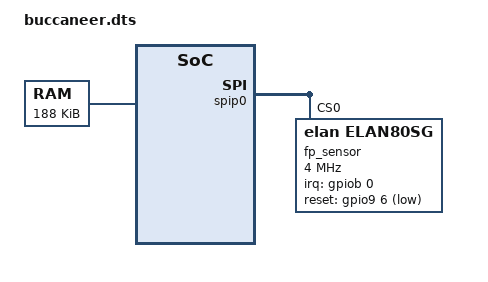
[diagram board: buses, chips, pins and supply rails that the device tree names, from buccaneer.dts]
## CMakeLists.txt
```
# Copyright 2025 The ChromiumOS Authors
# Use of this source code is governed by a BSD-style license that can be
# found in the LICENSE file.

set(EXPECTED_ROLLBACK_VERSION 1)

if(NOT CONFIG_PLATFORM_EC_ROLLBACK_VERSION EQUAL EXPECTED_ROLLBACK_VERSION)
	message(FATAL_ERROR "Rollback version has changed! Expected ${EXPECTED_ROLLBACK_VERSION}, but ${CONFIG_PLATFORM_EC_ROLLBACK_VERSION} is set.")
endif()

zephyr_library_sources_ifdef(CONFIG_HELIPILOT_EC_RO_QUIRKS "src/ec_quirks.c")
zephyr_library_sources_ifdef(CONFIG_EC_HOST_CMD "src/fp_transport.c")
zephyr_library_sources("src/power.c")
```

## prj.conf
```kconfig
# Copyright 2025 The ChromiumOS Authors
# Use of this source code is governed by a BSD-style license that can be
# found in the LICENSE file.

CONFIG_BASEBOARD_HELIPILOT=y

# System Controller drivers
CONFIG_SYSCON=y
CONFIG_SYS_CLOCK_HW_CYCLES_PER_SEC=16000000

# NPCX Flash driver options
CONFIG_FLASH_JESD216_API=y
CONFIG_FLASH_EX_OP_ENABLED=y
CONFIG_NPCX_FLASH_ERASE_SIZE=0x10000

# NPCX entropy driver options
CONFIG_ENTROPY_GENERATOR=y

# Set security strength to 256b
CONFIG_ENTROPY_NPCX_DRBG_SECURITY_STRENGTH_256B=y

# Watchdog
CONFIG_PLATFORM_EC_WATCHDOG_PERIOD_MS=10000
CONFIG_WDT_NPCX_WARNING_LEADING_TIME_MS=3000

# Disable flash shell, shell help, history and tab for helipilot to save space
CONFIG_FLASH_SHELL=n
CONFIG_SHELL_HELP=n
CONFIG_SHELL_HISTORY=n
CONFIG_SHELL_TAB=n
CONFIG_SHELL_TAB_AUTOCOMPLETION=n
CONFIG_SHELL_VT100_COMMANDS=n

# Disable math util and unnecessary console commands to save space
CONFIG_PLATFORM_EC_CONSOLE_CMD_CRASH=n
CONFIG_PLATFORM_EC_CONSOLE_CMD_CRASH_NESTED=n
CONFIG_PLATFORM_EC_CONSOLE_CMD_FLASH_WP=n
CONFIG_PLATFORM_EC_CONSOLE_CMD_GETTIME=n
CONFIG_PLATFORM_EC_CONSOLE_CMD_HCDEBUG=n
CONFIG_PLATFORM_EC_CONSOLE_CMD_MD=n
CONFIG_PLATFORM_EC_CONSOLE_CMD_RW=n
CONFIG_PLATFORM_EC_CONSOLE_CMD_SYSINFO=n
CONFIG_PLATFORM_EC_CONSOLE_CMD_SYSJUMP=n
CONFIG_PLATFORM_EC_CONSOLE_CMD_TIMERINFO=n
CONFIG_PLATFORM_EC_CONSOLE_CMD_WAITMS=n
CONFIG_PLATFORM_EC_HOSTCMD_CONSOLE_PRINT=n
CONFIG_PLATFORM_EC_HOSTCMD_GET_UPTIME_INFO=n
CONFIG_PLATFORM_EC_MATH_UTIL=n

# Host Commands
CONFIG_EC_HOST_CMD_INITIALIZE_AT_BOOT=n
CONFIG_EC_HOST_CMD_HANDLER_TX_BUFFER_SIZE=549
CONFIG_EC_HOST_CMD_HANDLER_RX_BUFFER_SIZE=544
CONFIG_EC_HOST_CMD_BACKEND_SHI=y
CONFIG_EC_HOST_CMD_BACKEND_UART=y
CONFIG_UART_ASYNC_API=y
CONFIG_UART_NPCX_USE_MDMA=y

# The NULL pointer exception page size must be a power of two
# and have size greater or equal ARM_MPU_REGION_MIN_ALIGN_AND_SIZE
CONFIG_CORTEX_M_NULL_POINTER_EXCEPTION_PAGE_SIZE=0x80
```

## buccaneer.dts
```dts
/* Copyright 2025 The ChromiumOS Authors.
 * Use of this source code is governed by a BSD-style license that can be
 * found in the LICENSE file.
 */

#include "soc.dtsi"
#include "gpio.dtsi"
#include "buccaneer/rwsig.dtsi"

#include <cros/integrated_fwid.dtsi>
#include <cros/integrated_ro_frid.dtsi>

#define ELAN80SG_COMMON_IMAGE_PROPS \
	width = <80>; \
	height = <80>; \
	bits-per-pixel = <14>; \
	frame-size = <12800>; \
	image-data-offset-bytes = <0>; \
	v4l2-pixel-format = "V4L2_PIX_FMT_GREY";

/ {
	chosen {
		cros-fp,fingerprint-sensor = &fp_sensor;
		zephyr,host-cmd-shi-backend = &shi0;
		zephyr,host-cmd-uart-backend = &uart2;
		zephyr,shell-uart = &uart1;
		cros,rtc = &mtc;
	};

	binman {
		pad-byte = <0xff>;

		/* Total Flash size is 1 MB. */
		size = <0x100000>;

		/* First 128 kB (uniform 4 kB sectors) used for RO */
		wp-ro {
			offset = <0x0>;
			size = <0x20000>;
			ec-ro {
				pad-byte = <0xff>;
				ro-fw {
					/*
					 * Clang doesn't emit STT_SECTION symbols (also
					 * called 'section symbols'), so 'rom_start'
					 * symbol is not available. Fortunately, Zephyr
					 * linker scripts provide '__rom_start_address'
					 * symbol which points to the beginning of
					 * 'rom_start' section.
					 */
					elf-base-sym = "__rom_start_address";
				};

				/*
				 * Override ro-frid offset to account for the 64-byte (0x40)
				 * NPCX firmware header prepended to the Zephyr RO image.
				 * 4 (version struct offset) + 0x40 (header) = 0x44 (68 bytes)
				 */
				ro-frid {
					offset-from-elf = <&zephyr_ro>, "current_image_data", <0x44>;
				};
			};
		};

		/* Two rollback sections (64 kB each) */
		rollback0 {
			offset = <0x20000>;
			size = <0x10000>;
			type = "blob";
			filename = "../build-rw/rollback_initial_data.bin";
		};

		rollback1 {
			offset = <0x30000>;
			size = <0x10000>;
			type = "blob";
			filename = "../build-rw/rollback_initial_data.bin";
		};

		/* 320 kB used for RW - buccaneer ECOS flash size */
		ec-rw {
			offset = <0x40000>;
			size = <0x50000>;
			rw-fw {
				/*
				 * Clang doesn't emit STT_SECTION symbols (also
				 * called 'section symbols'), so 'rom_start'
				 * symbol is not available. Fortunately, Zephyr
				 * linker scripts provide '__rom_start_address'
				 * symbol which points to the beginning of
				 * 'rom_start' section.
				 */
				zephyr-rw {
					elf-base-sym = "__rom_start_address";
				};
			};
		};
	};
};

/*
 *           ┌──────────────┐
 *           │   Reserved   │
 *           │     4KB      │
 *           ├──────────────┤0x200D7000
 *           │              │
 *           │              │
 *           │   Data RAM   │
 *           │     188KB    │
 *           │              │
 *           │              │
 * 0x100A8000├──────────────┤0x200A8000
 *           │              │
 *           │              │
 *           │              │
 *           │              │
 *           │   Code RAM   │
 *           │     320KB    │
 *           │              │
 *           │              │
 *           │              │
 *           │              │
 *           │              │
 * 0x10058000└──────────────┘
 */
&flash0 {
    reg = <0x10058000 DT_SIZE_K(320)>;
};

/delete-node/ &sram0;

/ {
	sram0: memory@200a8000 {
		compatible = "mmio-sram";
		reg = <0x200A8000 DT_SIZE_K(188)>;
	};
};

&flash0 {
	partitions {
		compatible = "fixed-partitions";
		#address-cells = <1>;
		#size-cells = <1>;

		/* First rollback section */
		rollback0: partition@20000 {
			label = "rollback0";
			reg = <0x20000 DT_SIZE_K(64)>;
		};

		/* Second rollback section */
		rollback1: partition@30000 {
			label = "rollback1";
			reg = <0x30000 DT_SIZE_K(64)>;
		};
	};
};

&spip0 {
	fp_sensor: elan80sg@0 {
		compatible = "elan,elan80sg";
		reg = <0>;
		spi-max-frequency = <4000000>;

		configs {
			compatible = "fingerprint-image-frame-params";
			config0 {
				ELAN80SG_COMMON_IMAGE_PROPS
				capture-type = "FINGERPRINT_CAPTURE_TYPE_VENDOR_FORMAT";
			};
			config1 {
				ELAN80SG_COMMON_IMAGE_PROPS
				capture-type = "FINGERPRINT_CAPTURE_TYPE_SIMPLE_IMAGE";
			};
			config2 {
				ELAN80SG_COMMON_IMAGE_PROPS
				capture-type = "FINGERPRINT_CAPTURE_TYPE_PATTERN0";
			};
			config3 {
				ELAN80SG_COMMON_IMAGE_PROPS
				capture-type = "FINGERPRINT_CAPTURE_TYPE_PATTERN1";
			};
			config4 {
				ELAN80SG_COMMON_IMAGE_PROPS
				capture-type = "FINGERPRINT_CAPTURE_TYPE_QUALITY_TEST";
			};
			config5 {
				ELAN80SG_COMMON_IMAGE_PROPS
				capture-type = "FINGERPRINT_CAPTURE_TYPE_RESET_TEST";
			};
		};

		irq-gpios = <&gpiob 0 GPIO_ACTIVE_HIGH>;
		reset-gpios = <&gpio9 6 GPIO_ACTIVE_LOW>;
	};
};
```

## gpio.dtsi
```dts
/* Copyright 2025 The ChromiumOS Authors.
 * Use of this source code is governed by a BSD-style license that can be
 * found in the LICENSE file.
 */

#include <dt-bindings/gpio_defines.h>

/ {
	aliases {
		gpio-wp = &ec_wp_l;
	};

	named-gpios {
		compatible = "named-gpios";

		ap_ec_int_l {
			gpios = <&gpioa 7 GPIO_OUTPUT_HIGH>;
			enum-name = "GPIO_EC_INT_L";
		};

		ec_wp_l: write-protect {
			gpios = <&gpioa 4 (GPIO_INPUT | GPIO_PULL_UP)>;
		};

		fp_sensor_sel: fp_sensor_sel {
			gpios = <&gpio4 4 GPIO_INPUT>;
		};

		slp_l: slp_l {
			gpios = <&gpioa 0 GPIO_INPUT>;
		};

		transport_sel: transport_sel {
			gpios = <&gpio4 3 GPIO_INPUT>;
		};

		user_pres_l {
			gpios = <&gpioa 5 GPIO_ODR_HIGH>;
		};

		/* Used to the transport layer detection at the beginning of the
		 * boot.
		 */
		div_highside: div_highside {
			gpios = <&gpio9 3 GPIO_OUTPUT_HIGH>;
		};

		/* unimplemented GPIOs */
		entering-rw {
			enum-name = "GPIO_ENTERING_RW";
		};
	};
};
```

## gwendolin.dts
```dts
<<<<<<< HEAD   (453fd99d5363bf9651b2fb0d3ffbbab7386a6376 program,zmake: drop cmsis references)
/* Copyright 2025 The ChromiumOS Authors.
 * Use of this source code is governed by a BSD-style license that can be
 * found in the LICENSE file.
 */

#include "gpio.dtsi"
#include "gwendolin/rwsig.dtsi"
#include "soc.dtsi"

#include <cros/integrated_fwid.dtsi>

#define EGIG630_DEFAULT_IMAGE_PROPS \
	width = <80>; \
	height = <64>; \
	bits-per-pixel = <8>; \
	frame-size = <5120>; \
	v4l2-pixel-format = "V4L2_PIX_FMT_GREY";

#define EGIG630_TEST_IMAGE_PROPS \
	width = <80>; \
	height = <64>; \
	bits-per-pixel = <16>; \
	frame-size = <10240>; \
	v4l2-pixel-format = "V4L2_PIX_FMT_GREY";

/ {
	chosen {
		cros-fp,fingerprint-sensor = &fp_sensor;
		zephyr,host-cmd-shi-backend = &shi0;
		zephyr,host-cmd-uart-backend = &uart2;
		zephyr,shell-uart = &uart1;
		cros,rtc = &mtc;
	};

	binman {
		pad-byte = <0xff>;

		/* Total Flash size is 1 MB. */
		size = <0x100000>;

		/* First 128 kB (uniform 4 kB sectors) used for RO */
		wp-ro {
			offset = <0x0>;
			size = <0x20000>;
			ec-ro {
				pad-byte = <0xff>;
			};
		};

		/* Two rollback sections (64 kB each) */
		rollback0 {
			offset = <0x20000>;
			size = <0x10000>;
			type = "blob";
			filename = "../build-rw/rollback_initial_data.bin";
		};

		rollback1 {
			offset = <0x30000>;
			size = <0x10000>;
			type = "blob";
			filename = "../build-rw/rollback_initial_data.bin";
		};

		/* 256 kB used for RW - gwendolin ECOS flash size */
		ec-rw {
			offset = <0x40000>;
			size = <0x40000>;
			rw-fw {
				/*
				 * Clang doesn't emit STT_SECTION symbols (also
				 * called 'section symbols'), so 'rom_start'
				 * symbol is not available. Fortunately, Zephyr
				 * linker scripts provide '__rom_start_address'
				 * symbol which points to the beginning of
				 * 'rom_start' section.
				 */
				zephyr-rw {
					elf-base-sym = "__rom_start_address";
				};
			};
		};
	};
};

/*
 *           ┌──────────────┐
 *           │   Reserved   │
 *           │     4KB      │
 *           ├──────────────┤0x200D7000
 *           │              │
 *           │              │
 *           │   Data RAM   │
 *           │     252KB    │
 *           │              │
 *           │              │
 * 0x10098000├──────────────┤0x20098000
 *           │              │
 *           │              │
 *           │              │
 *           │              │
 *           │   Code RAM   │
 *           │     256KB    │
 *           │              │
 *           │              │
 *           │              │
 *           │              │
 *           │              │
 * 0x10058000└──────────────┘
 */
&flash0 {
    reg = <0x10058000 DT_SIZE_K(256)>;
};

/delete-node/ &sram0;

/ {
	sram0: memory@20098000{
		compatible = "mmio-sram";
		reg = <0x20098000 DT_SIZE_K(252)>;
	};
};

&qspi_fiu0 {
	partitions {
		compatible = "fixed-partitions";
		#address-cells = <1>;
		#size-cells = <1>;

		/* First rollback section */
		rollback0: partition@20000 {
			label = "rollback0";
			reg = <0x20000 DT_SIZE_K(64)>;
		};

		/* Second rollback section */
		rollback1: partition@30000 {
			label = "rollback1";
			reg = <0x30000 DT_SIZE_K(64)>;
		};
	};
};

&spip0 {
	fp_sensor: egis630@0 {
		compatible = "egis,egis630";
		reg = <0>;
		spi-max-frequency = <4000000>;

		configs {
			compatible = "fingerprint-image-frame-params";
			config0 {
				EGIG630_DEFAULT_IMAGE_PROPS
				capture-type = "FINGERPRINT_CAPTURE_TYPE_SIMPLE_IMAGE";
			};
			config1 {
				EGIG630_TEST_IMAGE_PROPS
				capture-type = "FINGERPRINT_CAPTURE_TYPE_PATTERN0";
			};
			config2 {
				EGIG630_TEST_IMAGE_PROPS
				capture-type = "FINGERPRINT_CAPTURE_TYPE_PATTERN1";
			};
			config3 {
				EGIG630_TEST_IMAGE_PROPS
				capture-type = "FINGERPRINT_CAPTURE_TYPE_DEFECT_PXL_TEST";
			};
			config4 {
				EGIG630_TEST_IMAGE_PROPS
				capture-type = "FINGERPRINT_CAPTURE_TYPE_ABNORMAL_TEST";
			};
			config5 {
				EGIG630_TEST_IMAGE_PROPS
				capture-type = "FINGERPRINT_CAPTURE_TYPE_NOISE_TEST";
			};
			config6 {
				EGIG630_TEST_IMAGE_PROPS
				capture-type = "FINGERPRINT_CAPTURE_TYPE_QUALITY_TEST";
			};
		};

		irq-gpios = <&gpiob 0 GPIO_ACTIVE_HIGH>;
		reset-gpios = <&gpio9 6 GPIO_ACTIVE_LOW>;
	};
};
||||||| BASE   (0cb93ccd933607defa9592c423c9a9fb4946fd4d anakin: Set PDC source PDO overcurrent capability)
/* Copyright 2025 The ChromiumOS Authors.
 * Use of this source code is governed by a BSD-style license that can be
 * found in the LICENSE file.
 */

#include "gpio.dtsi"
#include "gwendolin/rwsig.dtsi"
#include "soc.dtsi"

#include <cros/integrated_fwid.dtsi>

/ {
	chosen {
		cros-fp,fingerprint-sensor = &fp_sensor;
		zephyr,host-cmd-shi-backend = &shi0;
		zephyr,host-cmd-uart-backend = &uart2;
		zephyr,shell-uart = &uart1;
		cros,rtc = &mtc;
	};

	binman {
		pad-byte = <0xff>;

		/* Total Flash size is 1 MB. */
		size = <0x100000>;

		/* First 128 kB (uniform 4 kB sectors) used for RO */
		wp-ro {
			offset = <0x0>;
			size = <0x20000>;
			ec-ro {
				pad-byte = <0xff>;
			};
		};

		/* Two rollback sections (64 kB each) */
		rollback0 {
			offset = <0x20000>;
			size = <0x10000>;
			type = "blob";
			filename = "../build-rw/rollback_initial_data.bin";
		};

		rollback1 {
			offset = <0x30000>;
			size = <0x10000>;
			type = "blob";
			filename = "../build-rw/rollback_initial_data.bin";
		};

		/* 256 kB used for RW - gwendolin ECOS flash size */
		ec-rw {
			offset = <0x40000>;
			size = <0x40000>;
			rw-fw {
				/*
				 * Clang doesn't emit STT_SECTION symbols (also
				 * called 'section symbols'), so 'rom_start'
				 * symbol is not available. Fortunately, Zephyr
				 * linker scripts provide '__rom_start_address'
				 * symbol which points to the beginning of
				 * 'rom_start' section.
				 */
				zephyr-rw {
					elf-base-sym = "__rom_start_address";
				};
			};
		};
	};
};

/*
 *           ┌──────────────┐
 *           │   Reserved   │
 *           │     4KB      │
 *           ├──────────────┤0x200D7000
 *           │              │
 *           │              │
 *           │   Data RAM   │
 *           │     252KB    │
 *           │              │
 *           │              │
 * 0x10098000├──────────────┤0x20098000
 *           │              │
 *           │              │
 *           │              │
 *           │              │
 *           │   Code RAM   │
 *           │     256KB    │
 *           │              │
 *           │              │
 *           │              │
 *           │              │
 *           │              │
 * 0x10058000└──────────────┘
 */
&flash0 {
    reg = <0x10058000 DT_SIZE_K(256)>;
};

/delete-node/ &sram0;

/ {
	sram0: memory@20098000{
		compatible = "mmio-sram";
		reg = <0x20098000 DT_SIZE_K(252)>;
	};
};

&qspi_fiu0 {
	partitions {
		compatible = "fixed-partitions";
		#address-cells = <1>;
		#size-cells = <1>;

		/* First rollback section */
		rollback0: partition@20000 {
			label = "rollback0";
			reg = <0x20000 DT_SIZE_K(64)>;
		};

		/* Second rollback section */
		rollback1: partition@30000 {
			label = "rollback1";
			reg = <0x30000 DT_SIZE_K(64)>;
		};
	};
};

&spip0 {
	fp_sensor: egis630@0 {
		compatible = "egis,egis630";
		reg = <0>;
		spi-max-frequency = <4000000>;

		width = <80>;
		height = <64>;
		bits-per-pixel = <8>;
		v4l2-pixel-format = "V4L2_PIX_FMT_GREY";

		irq-gpios = <&gpiob 0 GPIO_ACTIVE_HIGH>;
		reset-gpios = <&gpio9 6 GPIO_ACTIVE_LOW>;
	};
};
=======
>>>>>>> BRANCH (86da3bbeafeffe5727f5bfec7d9eed87995f2661 UPSTREAM: driver: add new ALS CM36781 driver code)
```

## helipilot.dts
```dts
/* Copyright 2025 The ChromiumOS Authors.
 * Use of this source code is governed by a BSD-style license that can be
 * found in the LICENSE file.
 */

#include "soc.dtsi"
#include "gpio.dtsi"
#include "rwsig.dtsi"

#include <cros/integrated_fwid.dtsi>
#include <cros/integrated_ro_frid.dtsi>

#define FPC1025_BASE_IMAGE_PROPS \
    width = <160>; \
    height = <160>; \
    bits-per-pixel = <8>; \
    image-data-offset-bytes = <400>; \
    v4l2-pixel-format = "V4L2_PIX_FMT_GREY";

#define FPC1025_RAW_IMAGE_PROPS \
    FPC1025_BASE_IMAGE_PROPS \
    /*
     * Sensor raw image size
     *
     * Value from fpc_bep_image_get_buffer_size(): (160*160)+660
     */ \
    frame-size = <26260>;

#define FPC1025_REAL_IMAGE_PROPS \
    FPC1025_BASE_IMAGE_PROPS \
    /* Sensor real image size: (160*160) */ \
    frame-size = <25600>;

/ {
	chosen {
		cros-fp,fingerprint-sensor = &fp_sensor;
		zephyr,host-cmd-shi-backend = &shi0;
		zephyr,host-cmd-uart-backend = &uart2;
		zephyr,shell-uart = &uart1;
		cros,rtc = &mtc;
	};

	binman {
		pad-byte = <0xff>;

		/* Total Flash size is 1 MB. */
		size = <0x100000>;

		/* First 128 kB (uniform 4 kB sectors) used for RO */
		wp-ro {
			offset = <0x0>;
			size = <0x20000>;
			ec-ro {
				pad-byte = <0xff>;
				ro-fw {
					/*
					 * Clang doesn't emit STT_SECTION symbols (also
					 * called 'section symbols'), so 'rom_start'
					 * symbol is not available. Fortunately, Zephyr
					 * linker scripts provide '__rom_start_address'
					 * symbol which points to the beginning of
					 * 'rom_start' section.
					 */
					elf-base-sym = "__rom_start_address";
				};

				/*
				 * Override ro-frid offset to account for the 64-byte (0x40)
				 * NPCX firmware header prepended to the Zephyr RO image.
				 * 4 (version struct offset) + 0x40 (header) = 0x44 (68 bytes)
				 */
				ro-frid {
					offset-from-elf = <&zephyr_ro>, "current_image_data", <0x44>;
				};
			};
		};

		/* Two rollback sections (64 kB each) */
		rollback0 {
			offset = <0x20000>;
			size = <0x10000>;
			type = "blob";
			filename = "../build-rw/rollback_initial_data.bin";
		};

		rollback1 {
			offset = <0x30000>;
			size = <0x10000>;
			type = "blob";
			filename = "../build-rw/rollback_initial_data.bin";
		};

		/* 320 kB used for RW - helipilot ECOS flash size */
		ec-rw {
			offset = <0x40000>;
			size = <0x50000>;
			rw-fw {
				/*
				 * Clang doesn't emit STT_SECTION symbols (also
				 * called 'section symbols'), so 'rom_start'
				 * symbol is not available. Fortunately, Zephyr
				 * linker scripts provide '__rom_start_address'
				 * symbol which points to the beginning of
				 * 'rom_start' section.
				 */
				zephyr-rw {
					elf-base-sym = "__rom_start_address";
				};
			};
		};
	};
};

/*
 * Due to a rounding bug in ECOS helipilot, the size of RW now baked into
 * RO is 320 kB (0x50000). This change updates the code RAM to 320 kB
 * correspondingly, freeing up additional data memory. This results in the
 * following memory map for Zephyr Helipilot:
 *
 *           ┌──────────────┐
 *           │   Reserved   │
 *           │     4KB      │
 *           ├──────────────┤0x200D7000
 *           │              │
 *           │              │
 *           │   Data RAM   │
 *           │     188KB    │
 *           │              │
 *           │              │
 * 0x100A8000├──────────────┤0x200A8000
 *           │              │
 *           │              │
 *           │              │
 *           │              │
 *           │   Code RAM   │
 *           │     320KB    │
 *           │              │
 *           │              │
 *           │              │
 *           │              │
 *           │              │
 * 0x10058000└──────────────┘
 */
&flash0 {
    reg = <0x10058000 DT_SIZE_K(320)>;
};

/delete-node/ &sram0;

/ {
	sram0: memory@200a8000 {
		compatible = "mmio-sram";
		reg = <0x200A8000 DT_SIZE_K(188)>;
	};
};

&flash0 {
	partitions {
		compatible = "fixed-partitions";
		#address-cells = <1>;
		#size-cells = <1>;

		/* First rollback section */
		rollback0: partition@20000 {
			label = "rollback0";
			reg = <0x20000 DT_SIZE_K(64)>;
		};

		/* Second rollback section */
		rollback1: partition@30000 {
			label = "rollback1";
			reg = <0x30000 DT_SIZE_K(64)>;
		};
	};
};

&spip0 {
	fp_sensor: fpc1025@0 {
		compatible = "fpc,fpc1025";
		reg = <0>;
		spi-max-frequency = <4000000>;

		configs {
			compatible = "fingerprint-image-frame-params";
			config0 {
				FPC1025_RAW_IMAGE_PROPS
				capture-type = "FINGERPRINT_CAPTURE_TYPE_VENDOR_FORMAT";
			};
			config1 {
				FPC1025_REAL_IMAGE_PROPS
				capture-type = "FINGERPRINT_CAPTURE_TYPE_SIMPLE_IMAGE";
			};
			config2 {
				FPC1025_REAL_IMAGE_PROPS
				capture-type = "FINGERPRINT_CAPTURE_TYPE_PATTERN0";
			};
			config3 {
				FPC1025_REAL_IMAGE_PROPS
				capture-type = "FINGERPRINT_CAPTURE_TYPE_PATTERN1";
			};
			config4 {
				FPC1025_RAW_IMAGE_PROPS
				capture-type = "FINGERPRINT_CAPTURE_TYPE_QUALITY_TEST";
			};
			config5 {
				FPC1025_REAL_IMAGE_PROPS
				capture-type = "FINGERPRINT_CAPTURE_TYPE_RESET_TEST";
			};
		};

		irq-gpios = <&gpiob 0 GPIO_ACTIVE_HIGH>;
		reset-gpios = <&gpio9 6 GPIO_ACTIVE_LOW>;
	};
};
```

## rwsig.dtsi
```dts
/* Copyright 2025 The ChromiumOS Authors.
 * Use of this source code is governed by a BSD-style license that can be
 * found in the LICENSE file.
 */
#include <cros/binman.dtsi>

&binman {
	wp-ro {
		ec-ro {
			key-ro {
				compatible = "cros-ec,flash-layout";
				type = "section";
				offset = <0x1ec40>;
				size = <0x400>;
			};
			ro-checksum {
				compatible = "cros-ec,flash-layout";
				type = "section";
				offset = <0x1ffe0>;
				size = <0x20>;
			};
		};
	};

	ec-rw {
		rw-fw {
			pad-byte = <0xff>;

			rw-rbver {
				size = <4>;
				type = "null";
				/* points to
				 * current_image_data.rollback_version
				 */
				offset-from-elf = <&zephyr_rw>,
					"current_image_data", <40>;
				overlap;
			};
			sig-rw {
				type = "section";
				offset = <0x4fc00>;
				size = <0x400>;
			};
		};
	};
};
```

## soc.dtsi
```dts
/* Copyright 2025 The ChromiumOS Authors.
 * Use of this source code is governed by a BSD-style license that can be
 * found in the LICENSE file.
 */

#include <cros/nuvoton/npcx9_cros.dtsi>
#include <nuvoton/npcx/npcx9/npcx9-pinctrl.dtsi>


/ {
       soc {
              itim5: timer@400b8000 {
                     compatible = "nuvoton,npcx-itim-timer";
                     reg = <0x400b8000 0x2000>;
                     clocks = <&pcc NPCX_CLOCK_BUS_LFCLK NPCX_PWDWN_CTL6 1>;
                     interrupts = <44 1>; /* Event timer interrupt */
              };
       };
};

/* DRBG: Deterministic Random Bit Generator */
&drbg0 {
	status = "okay";
};

/* UART1: Servo UART (console) */
&uart1 {
      /* Use UART1_SL2 ie. PIN64.65 */
       pinctrl-0 = <&uart1_2_sin_gp64
                    &uart1_2_sout_gp65>;
       pinctrl-names = "default";
       current-speed = <115200>;
};

/* UART2: AP UART (Host Commands and MKBP) */
&uart2 {
       pinctrl-0 = <&uart2_sin_gp75
                        &uart2_sout_gp86>;
       pinctrl-names = "default";
       current-speed = <3000000>;
};

/*
 * SPI0: communication with the fingerprint sensor
 */
&spip0 {
	pinctrl-0 = <&spip_sclk_mosi_miso_gp95_gpa1_gpa3_gpa5_sl
		     &spip_sclk_mosi_miso_gp95_gpa1_gpa3_gpa5_no_spip_inv>;
	pinctrl-names = "default";
	cs-gpios = <&gpioa 6 GPIO_ACTIVE_LOW>;
	status = "okay";
};

/*
 * PCC: increase core/APB clock to 96 MHz
 */
&pcc {
	clock-frequency = <DT_FREQ_M(96)>; /* OFMCLK runs at 96 MHz */
	core-prescaler = <1>; /* CORE_CLK runs at 96 MHz */
	apb1-prescaler = <6>; /* APB1_CLK runs at 16 MHz */
	apb2-prescaler = <6>; /* APB2_CLK runs at 16 MHz */
	apb3-prescaler = <6>; /* APB3_CLK runs at 16 MHz */
	/*
	 * APB4_CLK runs at 48 MHz, required to support
	 * UART2 Baudrate=3 MHz
	 */
	apb4-prescaler = <2>;
};
```

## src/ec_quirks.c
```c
/* Copyright 2025 The ChromiumOS Authors
 * Use of this source code is governed by a BSD-style license that can be
 * found in the LICENSE file.
 */

#include <zephyr/devicetree.h>
#include <zephyr/drivers/clock_control.h>

#define ITIM5_NODE DT_NODELABEL(itim5)

/*
 * Old FPMCU RO (EC based) uses ITIM32-5 as a watchdog warning to save the
 * CPU state before the real watchdog resets it. Zephyr instead uses the
 * watchdog module and it's capability to trigger warnings, so we disable this
 * timer to avoid an unhandled IRQ crash in cases where ECOS RO is used to
 * boot Zephyr RW.
 */
static const struct npcx_clk_cfg itim5_clk_cfg = {
	.bus = DT_CLOCKS_CELL_BY_IDX(ITIM5_NODE, 0, bus),
	.ctrl = DT_CLOCKS_CELL_BY_IDX(ITIM5_NODE, 0, ctl),
	.bit = DT_CLOCKS_CELL_BY_IDX(ITIM5_NODE, 0, bit),
};

static int disable_itim5(void)
{
	static struct itim32_reg *const itim5_reg =
		(struct itim32_reg *)DT_REG_ADDR(ITIM5_NODE);

	irq_disable(DT_IRQN(ITIM5_NODE));

	itim5_reg->ITCTS32 &= ~BIT(NPCX_ITCTSXX_ITEN);

	clock_control_off(DEVICE_DT_GET(NPCX_CLK_CTRL_NODE),
			  (clock_control_subsys_t)&itim5_clk_cfg);

	return 0;
}
SYS_INIT(disable_itim5, POST_KERNEL, CONFIG_APPLICATION_INIT_PRIORITY);
```
